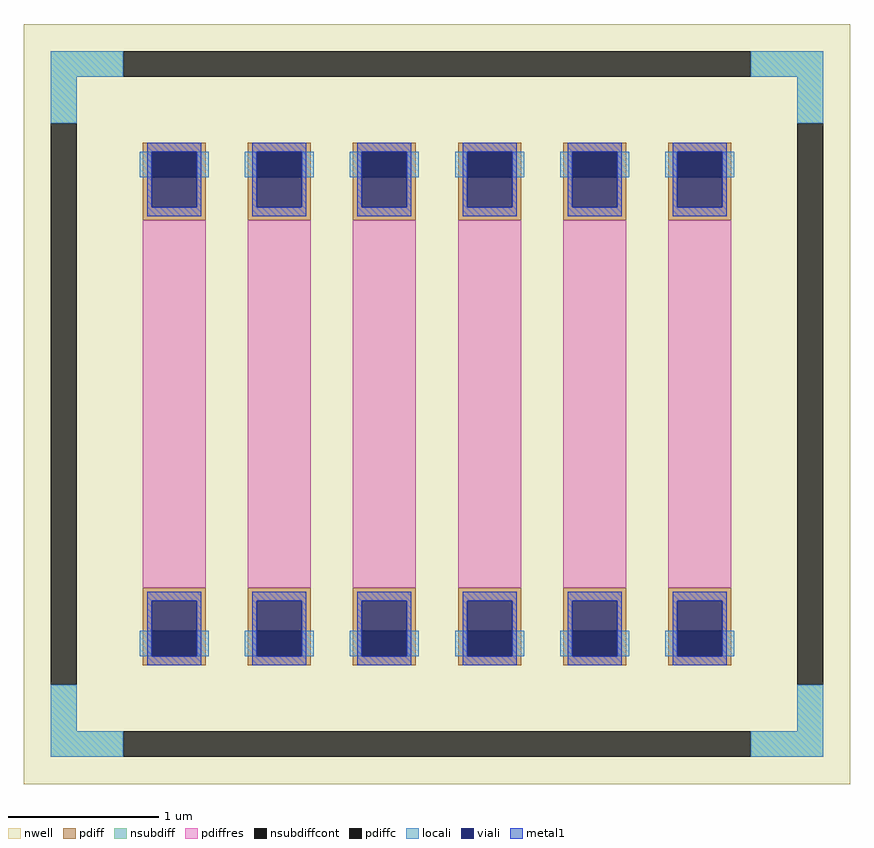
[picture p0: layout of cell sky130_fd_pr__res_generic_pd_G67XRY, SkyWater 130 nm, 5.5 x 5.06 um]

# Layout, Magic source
magic
tech sky130A
magscale 1 2
<< nwell >>
rect -550 -506 550 506
<< pdiff >>
rect -392 336 -308 348
rect -392 302 -380 336
rect -320 302 -308 336
rect -392 245 -308 302
rect -392 -302 -308 -245
rect -392 -336 -380 -302
rect -320 -336 -308 -302
rect -392 -348 -308 -336
rect -252 336 -168 348
rect -252 302 -240 336
rect -180 302 -168 336
rect -252 245 -168 302
rect -252 -302 -168 -245
rect -252 -336 -240 -302
rect -180 -336 -168 -302
rect -252 -348 -168 -336
rect -112 336 -28 348
rect -112 302 -100 336
rect -40 302 -28 336
rect -112 245 -28 302
rect -112 -302 -28 -245
rect -112 -336 -100 -302
rect -40 -336 -28 -302
rect -112 -348 -28 -336
rect 28 336 112 348
rect 28 302 40 336
rect 100 302 112 336
rect 28 245 112 302
rect 28 -302 112 -245
rect 28 -336 40 -302
rect 100 -336 112 -302
rect 28 -348 112 -336
rect 168 336 252 348
rect 168 302 180 336
rect 240 302 252 336
rect 168 245 252 302
rect 168 -302 252 -245
rect 168 -336 180 -302
rect 240 -336 252 -302
rect 168 -348 252 -336
rect 308 336 392 348
rect 308 302 320 336
rect 380 302 392 336
rect 308 245 392 302
rect 308 -302 392 -245
rect 308 -336 320 -302
rect 380 -336 392 -302
rect 308 -348 392 -336
<< pdiffc >>
rect -380 302 -320 336
rect -380 -336 -320 -302
rect -240 302 -180 336
rect -240 -336 -180 -302
rect -100 302 -40 336
rect -100 -336 -40 -302
rect 40 302 100 336
rect 40 -336 100 -302
rect 180 302 240 336
rect 180 -336 240 -302
rect 320 302 380 336
rect 320 -336 380 -302
<< nsubdiff >>
rect -514 436 -418 470
rect 418 436 514 470
rect -514 374 -480 436
rect 480 374 514 436
rect -514 -436 -480 -374
rect 480 -436 514 -374
rect -514 -470 -418 -436
rect 418 -470 514 -436
<< nsubdiffcont >>
rect -418 436 418 470
rect -514 -374 -480 374
rect 480 -374 514 374
rect -418 -470 418 -436
<< pdiffres >>
rect -392 -245 -308 245
rect -252 -245 -168 245
rect -112 -245 -28 245
rect 28 -245 112 245
rect 168 -245 252 245
rect 308 -245 392 245
<< locali >>
rect -514 436 -418 470
rect 418 436 514 470
rect -514 374 -480 436
rect 480 374 514 436
rect -396 302 -380 336
rect -320 302 -304 336
rect -256 302 -240 336
rect -180 302 -164 336
rect -116 302 -100 336
rect -40 302 -24 336
rect 24 302 40 336
rect 100 302 116 336
rect 164 302 180 336
rect 240 302 256 336
rect 304 302 320 336
rect 380 302 396 336
rect -396 -336 -380 -302
rect -320 -336 -304 -302
rect -256 -336 -240 -302
rect -180 -336 -164 -302
rect -116 -336 -100 -302
rect -40 -336 -24 -302
rect 24 -336 40 -302
rect 100 -336 116 -302
rect 164 -336 180 -302
rect 240 -336 256 -302
rect 304 -336 320 -302
rect 380 -336 396 -302
rect -514 -436 -480 -374
rect 480 -436 514 -374
rect -514 -470 -418 -436
rect 418 -470 514 -436
<< viali >>
rect -380 302 -320 336
rect -240 302 -180 336
rect -100 302 -40 336
rect 40 302 100 336
rect 180 302 240 336
rect 320 302 380 336
rect -380 262 -320 302
rect -240 262 -180 302
rect -100 262 -40 302
rect 40 262 100 302
rect 180 262 240 302
rect 320 262 380 302
rect -380 -302 -320 -262
rect -240 -302 -180 -262
rect -100 -302 -40 -262
rect 40 -302 100 -262
rect 180 -302 240 -262
rect 320 -302 380 -262
rect -380 -336 -320 -302
rect -240 -336 -180 -302
rect -100 -336 -40 -302
rect 40 -336 100 -302
rect 180 -336 240 -302
rect 320 -336 380 -302
<< metal1 >>
rect -386 336 -314 348
rect -386 262 -380 336
rect -320 262 -314 336
rect -386 250 -314 262
rect -246 336 -174 348
rect -246 262 -240 336
rect -180 262 -174 336
rect -246 250 -174 262
rect -106 336 -34 348
rect -106 262 -100 336
rect -40 262 -34 336
rect -106 250 -34 262
rect 34 336 106 348
rect 34 262 40 336
rect 100 262 106 336
rect 34 250 106 262
rect 174 336 246 348
rect 174 262 180 336
rect 240 262 246 336
rect 174 250 246 262
rect 314 336 386 348
rect 314 262 320 336
rect 380 262 386 336
rect 314 250 386 262
rect -386 -262 -314 -250
rect -386 -336 -380 -262
rect -320 -336 -314 -262
rect -386 -348 -314 -336
rect -246 -262 -174 -250
rect -246 -336 -240 -262
rect -180 -336 -174 -262
rect -246 -348 -174 -336
rect -106 -262 -34 -250
rect -106 -336 -100 -262
rect -40 -336 -34 -262
rect -106 -348 -34 -336
rect 34 -262 106 -250
rect 34 -336 40 -262
rect 100 -336 106 -262
rect 34 -348 106 -336
rect 174 -262 246 -250
rect 174 -336 180 -262
rect 240 -336 246 -262
rect 174 -348 246 -336
rect 314 -262 386 -250
rect 314 -336 320 -262
rect 380 -336 386 -262
rect 314 -348 386 -336
<< properties >>
string FIXED_BBOX -497 -453 497 453
string gencell sky130_fd_pr__res_generic_pd
string library sky130
string parameters w 0.42 l 2.45 m 1 nx 6 wmin 0.42 lmin 2.10 rho 197 val 1.206k dummy 0 dw 0.02 term 0.0 sterm 0.0 caplen 0.60 snake 0 guard 1 glc 1 grc 1 gtc 1 gbc 1 roverlap 0 endcov 100 full_metal 1 vias 1 viagb 0 viagt 0 viagl 0 viagr 0
<< end >>
